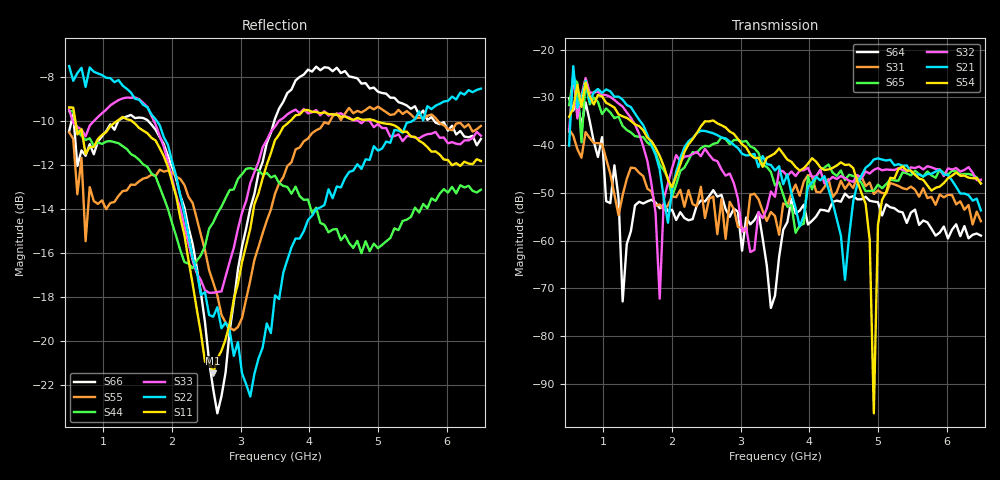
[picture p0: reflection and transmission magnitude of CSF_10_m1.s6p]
!Keysight Technologies,M9804A,MY58100912,A.14.10.03
!Date: Thursday, April 27, 2023 10:28:33
!Correction: S11(C  6-Port  )
!S12(C  6-Port  )
!S13(C  6-Port  )
!S14(C  6-Port  )
!S15(C  6-Port  )
!S16(C  6-Port  )
!S21(C  6-Port  )
!S22(C  6-Port  )
!S23(C  6-Port  )
!S24(C  6-Port  )
!S25(C  6-Port  )
!S26(C  6-Port  )
!S31(C  6-Port  )
!S32(C  6-Port  )
!S33(C  6-Port  )
!S34(C  6-Port  )
!S35(C  6-Port  )
!S36(C  6-Port  )
!S41(C  6-Port  )
!S42(C  6-Port  )
!S43(C  6-Port  )
!S44(C  6-Port  )
!S45(C  6-Port  )
!S46(C  6-Port  )
!S51(C  6-Port  )
!S52(C  6-Port  )
!S53(C  6-Port  )
!S54(C  6-Port  )
!S55(C  6-Port  )
!S56(C  6-Port  )
!S61(C  6-Port  )
!S62(C  6-Port  )
!S63(C  6-Port  )
!S64(C  6-Port  )
!S65(C  6-Port  )
!S66(C  6-Port  )
!S6P File: Measurement: :
# Hz S  RI  R 50
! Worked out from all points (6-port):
!   101 points, 500 MHz to 6.5 GHz, reference 50 ohm
!   strongest paths, dB at 500 MHz, 2 GHz, 3.5 GHz, 5 GHz, 6.5 GHz:
!     S54: -34.1, -48.8, -41.7, -56.7, -48.0
!     S21: -40.1, -49.4, -45.3, -42.8, -53.7
!     S32: -37.2, -44.9, -50.8, -44.8, -47.2
!     S65: -31.6, -50.7, -48.4, -48.3, -48.0
!     S31: -36.7, -50.7, -54.8, -49.5, -55.9
!     S64: -30.2, -53.5, -71.5, -51.9, -58.9
!   lowest |S11| = -21.5 dB at 2.6 GHz (marker M1), VSWR 1.18, Z = 42.5 + j2.21 ohm
!   |S11| at or under -10 dB: 590.6 MHz to 1.194 GHz (603.9 MHz wide, 67.7 % of centre); 1.418 GHz to 3.717 GHz (2.299 GHz wide, 89.6 % of centre); 4.973 GHz to end of sweep
